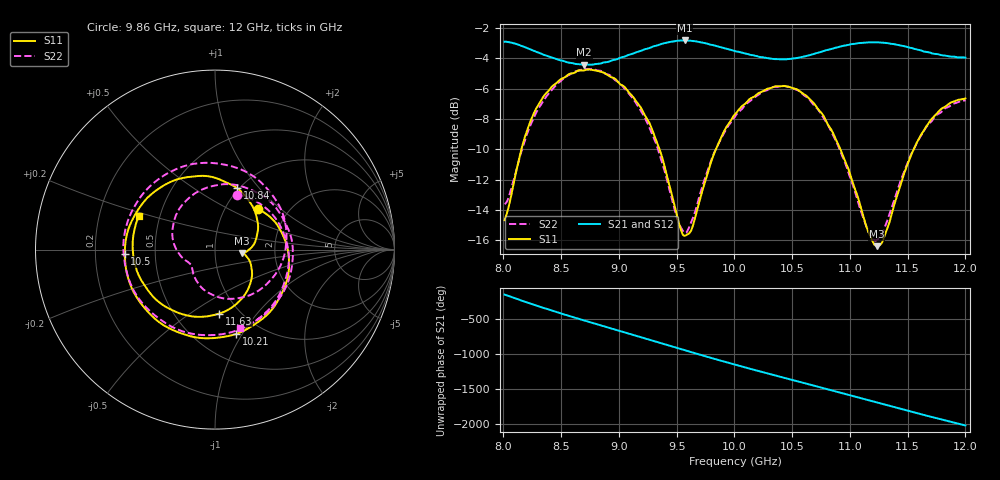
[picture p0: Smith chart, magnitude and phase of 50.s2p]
!Agilent Technologies,E8362C,MY49020356,A.09.42.23
!Agilent E8362C: A.09.42.23
!Date: Friday, November 08, 2024 19:20:32
!Correction: S11(Full 2 Port(1,2))
!S21(Full 2 Port(1,2))
!S12(Full 2 Port(1,2))
!S22(Full 2 Port(1,2))
!S2P File: Measurements: S11, S21, S12, S22:
# Hz S  RI  R 50
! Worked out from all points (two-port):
!   801 points, 8.01 GHz to 12 GHz, reference 50 ohm
!   highest |S21| = -2.82 dB at 9.571 GHz (marker M1); lowest = -4.4 dB at 8.698 GHz (marker M2)
!   |S21| within 3 dB of the highest: start of sweep to end of sweep
!   lowest |S11| = -16.4 dB at 11.23 GHz (marker M3), VSWR 1.36, Z = 67.6 - j2.53 ohm
!   |S11| at or under -10 dB: start of sweep to 8.156 GHz; 9.351 GHz to 9.84 GHz (488.5 MHz wide, 5.09 % of centre); 10.92 GHz to 11.55 GHz (635.2 MHz wide, 5.65 % of centre)
!   |S22| runs from -16.0 to -4.7 dB; largest |S21 - S12| = 0.0083
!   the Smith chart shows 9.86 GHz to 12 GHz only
!   S11 on the Smith chart (normalised r, x): 9.86 GHz: 1.41, +0.72; 10.21 GHz: 0.77, -0.94; 10.5 GHz: 0.33, -0.02; 10.84 GHz: 0.98, +0.77; 11.63 GHz: 0.80, -0.66; 12 GHz: 0.38, +0.18
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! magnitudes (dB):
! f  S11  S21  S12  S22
! 8.01 GHz  -14.7  -2.9  -2.9  -13.6
! 8.175 GHz  -9.5  -3.2  -3.2  -9.7
! 8.279 GHz  -7.4  -3.6  -3.6  -7.6
! 8.484 GHz  -5.4  -4.1  -4.1  -5.6
! 8.678 GHz  -4.8  -4.4  -4.4  -4.7
! 8.698 GHz  -4.8  -4.4  -4.4  -4.7
! 9.072 GHz  -6.1  -3.8  -3.8  -6.2
! 9.342 GHz  -9.8  -3.1  -3.1  -10.1
! 9.506 GHz  -14.5  -2.8  -2.8  -14.6
! 9.571 GHz  -15.7  -2.8  -2.8  -15.5
! 9.636 GHz  -15.1  -2.9  -2.9  -14.6
! 9.86 GHz  -9.6  -3.2  -3.2  -9.7
! 10.01 GHz  -7.7  -3.5  -3.5  -7.8
! 10.21 GHz  -6.3  -3.9  -3.9  -6.4
! 10.5 GHz  -6.0  -4.0  -4.0  -6.0
! 10.67 GHz  -6.8  -3.7  -3.7  -7.0
! 10.84 GHz  -8.8  -3.4  -3.4  -8.9
! 11.15 GHz  -15.3  -3.0  -3.0  -15.3
! 11.23 GHz  -16.4  -2.9  -2.9  -16.0
! 11.34 GHz  -14.9  -3.0  -3.0  -14.4
! 11.63 GHz  -8.9  -3.5  -3.5  -9.0
! 12 GHz  -6.6  -4.0  -3.9  -6.8
